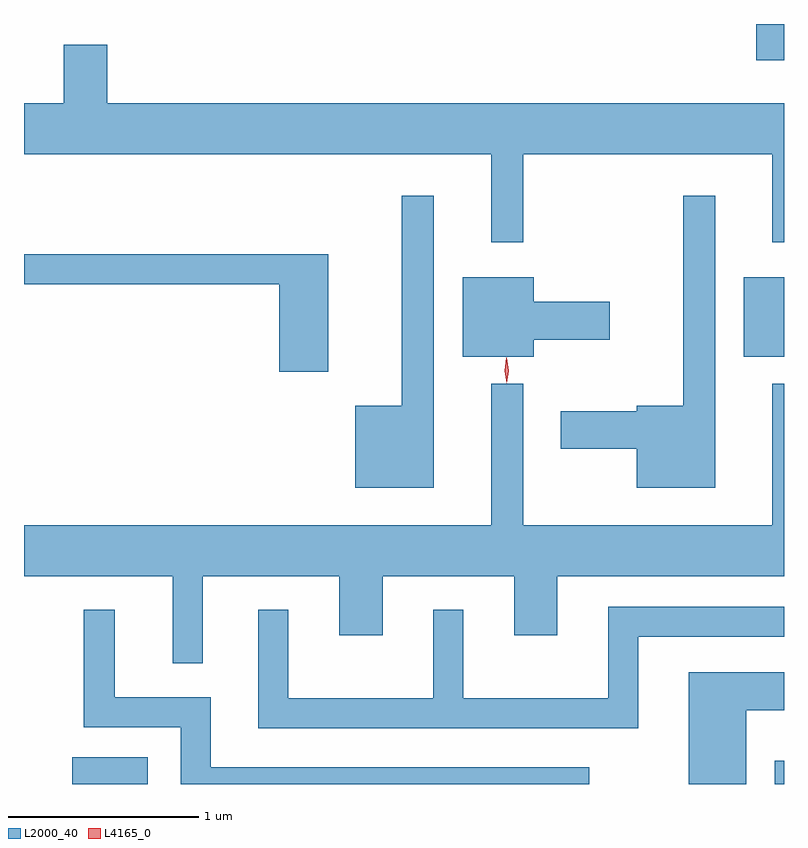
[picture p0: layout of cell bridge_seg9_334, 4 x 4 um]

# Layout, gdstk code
import gdstk
lib = gdstk.Library(unit=1e-6, precision=1e-09)
def R(c, l, rs):  # rectangles x0, y0, x1, y1
    for r in rs: c.add(gdstk.rectangle(r[:2], r[2:], *l))
def P(c, l, *ps):  # polygons
    for p in ps: c.add(gdstk.Polygon(p, *l))
L2000_40 = (2000, 40)
L4165_0 = (4165, 0)

bridge_seg9_334 = lib.new_cell('bridge_seg9_334')
R(bridge_seg9_334, L2000_40, [(725.516,1997.382,725.914,1997.524), (729.213,1997.382,729.262,1997.504), (729.051,1999.631,729.262,2000.049), (729.116,2001.191,729.262,2001.382)])
P(bridge_seg9_334, L2000_40, [(725.699,2001.274),(725.471,2001.274),(725.471,2000.964),(725.262,2000.964),(725.262,2000.696),(727.721,2000.696),(727.721,2000.233),(727.889,2000.233),(727.889,2000.696),(729.201,2000.696),(729.201,2000.233),(729.262,2000.233),(729.262,2000.964),(725.699,2000.964)],
  [(728.899,2000.478),(728.731,2000.478),(728.731,1999.374),(728.486,1999.374),(728.486,1999.344),(728.086,1999.344),(728.086,1999.146),(728.486,1999.146),(728.486,1998.941),(728.899,1998.941)],
  [(727.419,2000.478),(727.251,2000.478),(727.251,1999.374),(727.006,1999.374),(727.006,1998.941),(727.419,1998.941)],
  [(726.864,2000.169),(725.262,2000.169),(725.262,2000.011),(726.606,2000.011),(726.606,1999.551),(726.864,1999.551)],
  [(727.944,1999.721),(728.344,1999.721),(728.344,1999.919),(727.944,1999.919),(727.944,2000.049),(727.571,2000.049),(727.571,1999.631),(727.944,1999.631)],
  [(726.204,1998.476),(726.921,1998.476),(726.921,1998.166),(727.149,1998.166),(727.149,1998.476),(727.841,1998.476),(727.841,1998.166),(728.069,1998.166),(728.069,1998.476),(729.262,1998.476),(729.262,1999.488),(729.201,1999.488),(729.201,1998.744),(727.889,1998.744),(727.889,1999.488),(727.721,1999.488),(727.721,1998.744),(725.262,1998.744),(725.262,1998.476),(726.046,1998.476),(726.046,1998.018),(726.204,1998.018)],
  [(728.494,1998.156),(729.262,1998.156),(729.262,1998.314),(728.336,1998.314),(728.336,1997.834),(727.574,1997.834),(727.574,1998.298),(727.416,1998.298),(727.416,1997.834),(726.654,1997.834),(726.654,1998.298),(726.496,1998.298),(726.496,1997.676),(728.494,1997.676)],
  [(728.238,1997.469),(726.244,1997.469),(726.244,1997.839),(725.739,1997.839),(725.739,1998.298),(725.576,1998.298),(725.576,1997.681),(726.086,1997.681),(726.086,1997.382),(728.238,1997.382)],
  [(729.064,1997.771),(729.262,1997.771),(729.262,1997.969),(728.761,1997.969),(728.761,1997.382),(729.064,1997.382)])
P(bridge_seg9_334, L4165_0, [(727.802,1999.49),(727.792,1999.558),(727.8,1999.625),(727.801,1999.625),(727.802,1999.625),(727.812,1999.558),(727.803,1999.49),(727.803,1999.49)],
  [(727.802,1999.493),(727.793,1999.556),(727.802,1999.619),(727.803,1999.619),(727.803,1999.619),(727.813,1999.556),(727.803,1999.493),(727.803,1999.493)])

lib.write_gds('bridge_seg9_334.gds')
